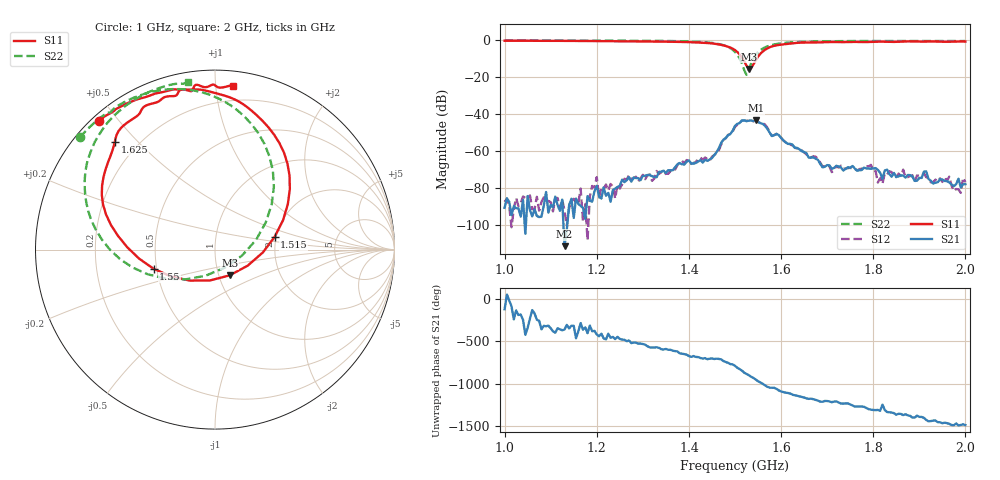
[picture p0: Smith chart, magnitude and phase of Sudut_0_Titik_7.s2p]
# Hz S RI R 50
! CMT, C1220, 16058040, 17.2.0/1
! Date: 14/08/2018 12:11:40
! Data: Format (Calibration Info)
! Freq  S11: Re/Im (F2)  S21: Re/Im (F2)  S12: Re/Im (F2)  S22: Re/Im (F2)
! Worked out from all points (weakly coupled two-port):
!   201 points, 1 GHz to 2 GHz, reference 50 ohm
!   highest |S21| = -43.39 dB at 1.545 GHz (marker M1); lowest = -111.6 dB at 1.13 GHz (marker M2)
!   lowest |S11| = -15.6 dB at 1.53 GHz (marker M3), VSWR 1.40, Z = 56.3 - j16.6 ohm
!   |S11| at or under -10 dB: 1.516 GHz to 1.547 GHz (30.66 MHz wide, 2 % of centre)
!   |S22| runs from -18.8 to -0.2 dB; largest |S21 - S12| = 0.00039
!   S11 on the Smith chart (normalised r, x): 1 GHz: 0.02, +0.44; 1.515 GHz: 1.96, +0.31; 1.55 GHz: 0.48, -0.12; 1.625 GHz: 0.12, +0.43; 2 GHz: 0.10, +1.11
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1e9  -0.6441 0.7149  -1.49e-05 -2.45e-05  1.35e-05 3.94e-05  -0.7535 0.6253
1.13e9  -0.5104 0.8042  2.62e-06 1.8e-08  1.46e-05 1.9e-05  -0.6552 0.7218
1.17e9  -0.4729 0.8219  2.9e-05 -4.43e-07  8.23e-06 9.74e-06  -0.6165 0.7509
1.195e9  -0.4344 0.837  7.79e-05 -2.21e-05  7.67e-05 -6.76e-05  -0.5869 0.764
1.2e9  -0.4299 0.8381  5.97e-05 -9.58e-05  0.000141 -0.000134  -0.5824 0.7643
1.205e9  -0.4261 0.8393  1.08e-05 -5.7e-05  -2.22e-05 -4.98e-05  -0.5803 0.7652
1.25e9  -0.3488 0.8637  -3.88e-05 -0.000107  -3.09e-05 -8.97e-05  -0.5358 0.8043
1.27e9  -0.3281 0.8703  -0.000122 -0.000151  -0.000202 -8.91e-05  -0.5083 0.8202
1.335e9  -0.2121 0.892  -0.000219 0.000155  -0.000189 0.000139  -0.3999 0.8654
1.445e9  0.157 0.8098  0.000557 0.000171  0.000533 9.45e-05  -0.00814 0.8541
1.5e9  0.417 0.3369  0.00183 -0.00439  0.00175 -0.00411  0.3281 0.3498
1.515e9  0.3322 0.0705  -0.00365 -0.00553  -0.0035 -0.00572  0.2283 0.0533
1.53e9  0.082 -0.1434  -0.00658 -0.000305  -0.00664 -0.000302  -0.0532 -0.1458
1.545e9  -0.2459 -0.1491  -0.00449 0.00506  -0.00455 0.00495  -0.3739 -0.1379
1.55e9  -0.3425 -0.1066  -0.00231 0.00563  -0.00251 0.00555  -0.4594 -0.0997
1.625e9  -0.5584 0.5994  0.000989 -0.00108  0.000994 -0.000978  -0.701 0.5221
1.67e9  -0.4372 0.742  -0.000116 -0.000658  -8.86e-05 -0.000711  -0.6247 0.6728
1.71e9  -0.3709 0.8081  -0.000231 -0.000229  -0.000205 -0.00017  -0.5583 0.75
1.795e9  -0.2062 0.8731  -0.000241 0.00022  -0.000332 0.000253  -0.4309 0.845
1.82e9  -0.1704 0.8919  -0.000167 -4.99e-05  -4.62e-05 0.00012  -0.3962 0.8642
1.835e9  -0.1387 0.8832  -6.41e-05 0.000226  2.3e-06 0.000282  -0.3763 0.874
2e9  0.0986 0.9095  8.92e-05 -8.85e-05  0.000109 -9.15e-05  -0.1519 0.933
